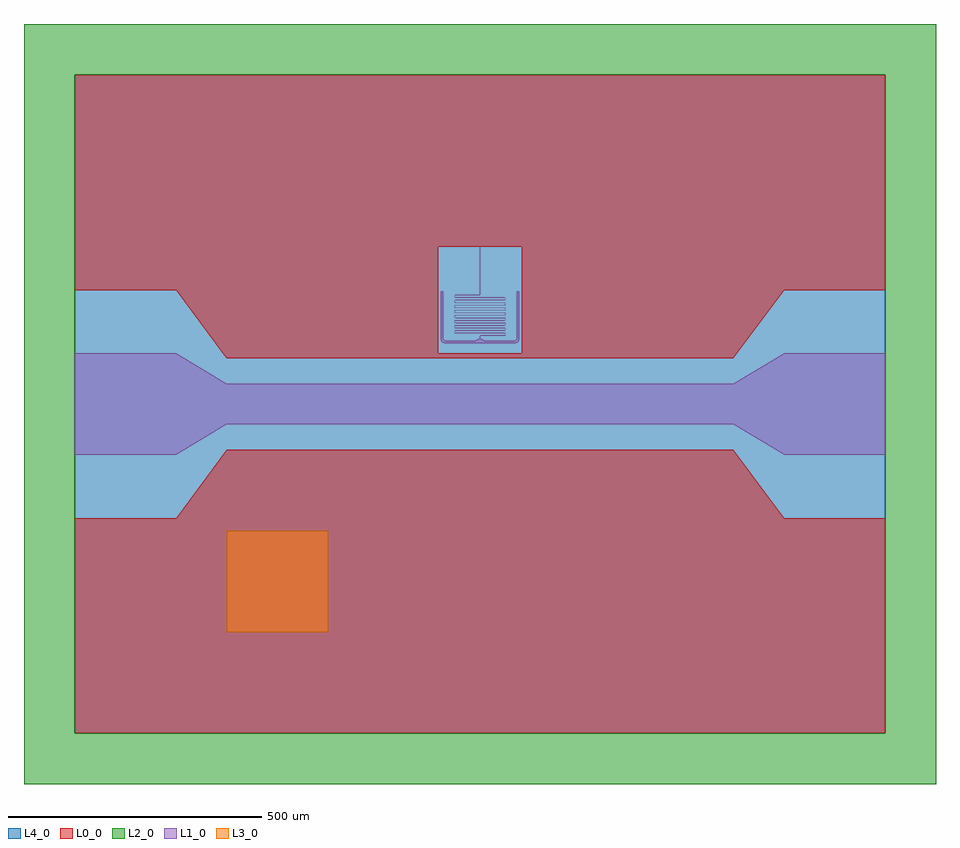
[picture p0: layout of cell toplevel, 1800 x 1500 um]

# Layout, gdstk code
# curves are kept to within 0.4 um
import gdstk
lib = gdstk.Library(unit=1e-6, precision=1e-09)
def R(c, l, rs):  # rectangles x0, y0, x1, y1
    for r in rs: c.add(gdstk.rectangle(r[:2], r[2:], *l))
def P(c, l, *ps):  # polygons
    for p in ps: c.add(gdstk.Polygon(p, *l))
L0_0 = (0, 0)
L1_0 = (1, 0)
L2_0 = (2, 0)
L3_0 = (3, 0)
L4_0 = (4, 0)

toplevel = lib.new_cell('toplevel')
P(toplevel, L0_0, [(600,225),(800,225),(800,650),(-800,650),(-800,225),(-600,225),(-507.407,100),(-82.5,100),(-82.5,310),(82.5,310),(82.5,100),(-507.407,100),(-500,90),(500,90)],
  [(800,-650),(800,-225),(600,-225),(500,-90),(-500,-90),(-600,-225),(-800,-225),(-800,-650)])
P(toplevel, L1_0, [(-75.109,222.498),(-76.768,221.768),(-77.498,220.109),(-77.495,130.762),(-76.51,125.237),(-73.502,121.654),(-70.509,120.405),(-66.598,120.003),(66.879,120.007),(72.263,120.989),(75.811,123.945),(77.108,127.045),(77.499,131.178),(77.5,220),(76.343,222.108),(73.846,222.217),(72.502,220.109),(72.493,130.67),(72.07,127.598),(70.83,125.881),(66.336,125.001),(-66.125,125),(-70.871,125.909),(-71.911,127.199),(-72.426,129.368),(-72.502,220.109),(-73.311,221.843)],
  [(0.3,130),(0.391,133.782),(0.794,134.41),(1.61,134.68),(48.782,134.773),(49.434,135.022),(49.9,135.448),(50.187,136.055),(50.295,136.844),(50.284,138.368),(50.117,139.154),(49.683,139.794),(48.969,140.18),(47.83,140.3),(-48.195,140.307),(-49.226,140.605),(-49.66,141.451),(-49.621,143.739),(-49.354,144.275),(-48.867,144.583),(-47.829,144.7),(48.111,144.703),(49.119,144.87),(49.82,145.347),(50.202,146.113),(50.3,147.244),(50.249,148.666),(49.922,149.52),(49.234,150.083),(48.189,150.294),(-47.953,150.301),(-49.073,150.506),(-49.599,151.184),(-49.699,153.015),(-49.559,153.933),(-49.088,154.486),(-48.205,154.693),(48.002,154.701),(49.424,155.015),(49.877,155.417),(50.17,155.997),(50.297,158.111),(50.083,159.234),(49.402,159.997),(48.256,160.291),(-47.953,160.301),(-49.058,160.498),(-49.591,161.158),(-49.699,162.974),(-49.562,163.925),(-49.095,164.482),(-48.205,164.693),(48.002,164.701),(49.402,165.003),(49.861,165.397),(50.154,165.95),(50.298,168.067),(50.088,169.222),(49.413,169.991),(48.256,170.291),(-47.953,170.301),(-49.043,170.491),(-49.58,171.125),(-49.7,172.912),(-49.565,173.917),(-49.095,174.482),(-48.205,174.693),(47.991,174.701),(49.38,174.99),(49.837,175.366),(50.138,175.904),(50.299,178.013),(50.093,179.211),(49.413,179.991),(48.256,180.291),(-47.943,180.3),(-49.027,180.483),(-49.571,181.1),(-49.7,182.85),(-49.565,183.917),(-49.095,184.482),(-48.205,184.693),(47.991,184.701),(49.357,184.978),(49.811,185.337),(50.121,185.858),(50.3,187.915),(50.103,189.188),(49.424,189.985),(48.256,190.291),(-47.943,190.3),(-49.012,190.476),(-49.555,191.059),(-49.7,192.088),(-49.571,193.9),(-49.102,194.477),(-48.205,194.693),(47.991,194.701),(49.346,194.972),(49.794,195.317),(50.103,195.812),(50.3,197.159),(50.107,199.177),(49.434,199.978),(48.256,200.291),(-47.933,200.3),(-48.989,200.465),(-49.539,201.019),(-49.699,202.016),(-49.574,203.892),(-49.109,204.473),(-48.205,204.693),(47.98,204.701),(49.313,204.955),(50.078,205.755),(50.299,207.031),(50.28,208.414),(50.112,209.165),(49.434,209.978),(48.256,210.291),(-47.933,210.3),(-48.965,210.455),(-49.521,210.98),(-49.697,211.895),(-49.599,213.816),(-49.193,214.419),(-48.38,214.681),(-1.933,214.702),(-0.698,214.949),(0.045,215.687),(0.3,217.138),(0.3,310),(-0.3,310),(-0.3,217.15),(-0.491,215.957),(-1.019,215.461),(-1.996,215.301),(-48.482,215.274),(-49.552,214.9),(-50.147,214.073),(-50.297,211.9),(-50.062,210.721),(-49.29,209.944),(-47.98,209.701),(48.205,209.693),(49.109,209.473),(49.574,208.892),(49.699,206.985),(49.532,206.004),(48.981,205.461),(47.933,205.3),(-48.256,205.291),(-49.434,204.978),(-50.112,204.165),(-50.28,203.414),(-50.3,202.063),(-50.088,200.778),(-49.776,200.298),(-49.324,199.96),(-47.98,199.701),(48.205,199.693),(49.102,199.477),(49.571,198.9),(49.7,197.057),(49.549,196.043),(49.004,195.472),(47.943,195.3),(-48.256,195.291),(-49.424,194.985),(-50.103,194.188),(-50.3,192.873),(-50.112,190.835),(-49.803,190.327),(-49.357,189.978),(-47.991,189.701),(48.205,189.693),(49.102,189.477),(49.568,188.908),(49.7,187.15),(49.562,186.075),(49.02,185.479),(47.943,185.3),(-48.256,185.291),(-49.424,184.985),(-50.098,184.199),(-50.299,182.969),(-50.13,180.881),(-49.828,180.356),(-49.369,179.984),(-47.991,179.701),(48.205,179.693),(49.095,179.482),(49.565,178.917),(49.7,177.892),(49.577,176.116),(49.043,175.491),(47.953,175.301),(-48.256,175.291),(-49.413,174.991),(-50.093,174.211),(-50.298,173.035),(-50.147,170.927),(-49.853,170.387),(-49.402,170.003),(-48.002,169.701),(48.205,169.693),(49.095,169.482),(49.562,168.925),(49.699,167.953),(49.586,166.141),(49.05,165.494),(47.953,165.301),(-48.256,165.291),(-49.413,164.991),(-50.088,164.222),(-50.297,163.089),(-50.162,160.973),(-49.869,160.407),(-49.413,160.009),(-48.002,159.701),(48.205,159.693),(49.088,159.486),(49.559,158.933),(49.699,158.004),(49.597,156.175),(49.065,155.502),(47.953,155.301),(-48.256,155.291),(-49.402,154.997),(-50.083,154.234),(-50.296,153.122),(-50.173,151.008),(-49.885,150.427),(-49.434,150.022),(-48.817,149.781),(-48.002,149.701),(48.155,149.695),(48.965,149.545),(49.456,149.138),(49.67,148.475),(49.636,146.323),(49.37,145.743),(48.859,145.414),(48.055,145.302),(-47.841,145.3),(-49.061,145.151),(-49.758,144.721),(-50.166,144.015),(-50.259,141.403),(-50.051,140.698),(-49.653,140.18),(-49.061,139.849),(-48.278,139.71),(47.829,139.7),(48.825,139.597),(49.327,139.304),(49.609,138.782),(49.677,136.582),(49.304,135.673),(48.37,135.318),(1.253,135.234),(0.327,134.803),(-0.18,133.969),(-0.3,130)],
  [(10,125),(0.3,130),(-0.3,130),(-10,125)],
  [(-500,40),(-600,100),(-800,100),(-800,-100),(-600,-100),(-500,-40),(500,-40),(600,-100),(800,-100),(800,100),(600,100),(500,40)])
P(toplevel, L2_0, [(900,750),(-900,750),(-900,-650),(-800,-650),(-800,650),(800,650),(800,-650),(-800,-650),(-900,-650),(-900,-750),(900,-750)])
R(toplevel, L3_0, [(-500,-450,-300,-250)])
R(toplevel, L4_0, [(-800,-650,800,650)])

lib.write_gds('toplevel.gds')
